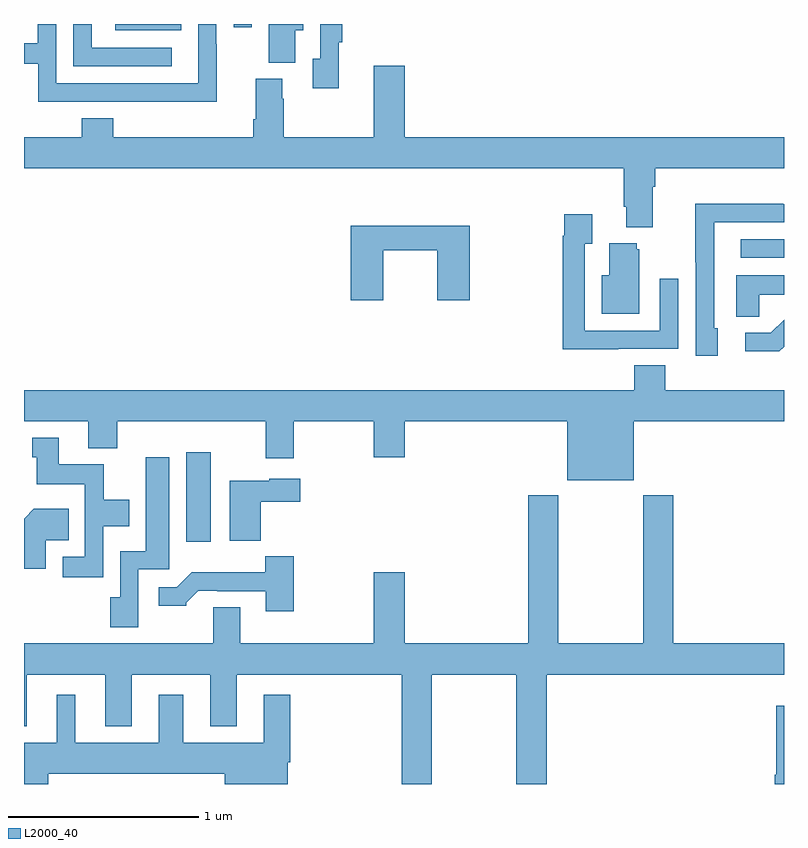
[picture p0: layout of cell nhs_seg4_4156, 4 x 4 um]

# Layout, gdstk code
import gdstk
lib = gdstk.Library(unit=1e-6, precision=1e-09)
def R(c, l, rs):  # rectangles x0, y0, x1, y1
    for r in rs: c.add(gdstk.rectangle(r[:2], r[2:], *l))
def P(c, l, *ps):  # polygons
    for p in ps: c.add(gdstk.Polygon(p, *l))
L2000_40 = (2000, 40)

nhs_seg4_4156 = lib.new_cell('nhs_seg4_4156')
R(nhs_seg4_4156, L2000_40, [(331.853,808.176,331.984,808.645), (334.773,809.67,335,809.766), (331.479,810.866,331.828,810.9), (332.103,810.882,332.199,810.9)])
P(nhs_seg4_4156, L2000_40, [(332.015,810.794),(332.013,810.794),(332.013,810.9),(331.917,810.9),(331.917,810.588),(331.17,810.588),(331.17,810.9),(331.073,810.9),(331.073,810.799),(331,810.799),(331,810.69),(331.074,810.69),(331.074,810.492),(331.552,810.492),(331.552,810.491),(332.015,810.491)],
  [(331.777,810.774),(331.356,810.774),(331.356,810.9),(331.26,810.9),(331.26,810.678),(331.777,810.678)],
  [(332.428,810.866),(332.47,810.866),(332.47,810.9),(332.288,810.9),(332.288,810.697),(332.428,810.697)],
  [(332.657,810.805),(332.675,810.805),(332.675,810.9),(332.559,810.9),(332.559,810.717),(332.519,810.717),(332.519,810.561),(332.657,810.561)],
  [(334.309,810.044),(334.322,810.044),(334.322,810.14),(335,810.14),(335,810.304),(333.004,810.304),(333.004,810.679),(332.84,810.679),(332.84,810.304),(332.367,810.304),(332.367,810.506),(332.359,810.506),(332.359,810.612),(332.219,810.612),(332.219,810.4),(332.207,810.4),(332.207,810.304),(331.469,810.304),(331.469,810.403),(331.304,810.403),(331.304,810.304),(331,810.304),(331,810.14),(334.157,810.14),(334.157,809.938),(334.169,809.938),(334.169,809.831),(334.309,809.831)],
  [(334.651,809.298),(334.632,809.298),(334.632,809.856),(335,809.856),(335,809.952),(334.997,809.952),(334.997,809.954),(334.534,809.954),(334.534,809.647),(334.536,809.647),(334.536,809.154),(334.651,809.154)],
  [(334.127,809.19),(334.443,809.19),(334.443,809.56),(334.347,809.56),(334.347,809.286),(333.951,809.286),(333.951,809.743),(333.991,809.743),(333.991,809.899),(333.843,809.899),(333.843,809.786),(333.835,809.786),(333.835,809.189),(334.127,809.189)],
  [(332.89,809.71),(333.176,809.71),(333.176,809.445),(333.347,809.445),(333.347,809.839),(332.72,809.839),(332.72,809.445),(332.89,809.445)],
  [(334.237,809.715),(334.226,809.715),(334.226,809.746),(334.079,809.746),(334.079,809.578),(334.04,809.578),(334.04,809.375),(334.237,809.375)],
  [(334.869,809.474),(335,809.474),(335,809.578),(334.748,809.578),(334.748,809.359),(334.869,809.359)],
  [(335,809.202),(335,809.343),(334.931,809.274),(334.797,809.274),(334.797,809.177),(334.975,809.177)],
  [(334.21,808.808),(335,808.808),(335,808.972),(334.376,808.972),(334.376,809.105),(334.211,809.105),(334.211,808.972),(331,808.972),(331,808.808),(331.337,808.808),(331.337,808.667),(331.49,808.667),(331.49,808.808),(332.273,808.808),(332.273,808.614),(332.421,808.614),(332.421,808.808),(332.84,808.808),(332.84,808.62),(333.004,808.62),(333.004,808.808),(333.86,808.808),(333.86,808.499),(334.21,808.499)],
  [(331.416,808.256),(331.555,808.256),(331.555,808.396),(331.419,808.396),(331.419,808.582),(331.183,808.582),(331.183,808.723),(331.043,808.723),(331.043,808.62),(331.067,808.62),(331.067,808.478),(331.32,808.478),(331.32,808.095),(331.203,808.095),(331.203,807.987),(331.416,807.987)],
  [(331.602,808.029),(331.765,808.029),(331.765,808.621),(331.64,808.621),(331.64,808.126),(331.506,808.126),(331.506,807.882),(331.454,807.882),(331.454,807.726),(331.602,807.726)],
  [(332.246,808.385),(332.455,808.385),(332.455,808.507),(332.292,808.507),(332.292,808.495),(332.084,808.495),(332.084,808.181),(332.246,808.181)],
  [(333.147,807.476),(333.592,807.476),(333.592,806.9),(333.752,806.9),(333.752,807.476),(335,807.476),(335,807.64),(334.418,807.64),(334.418,808.42),(334.258,808.42),(334.258,807.64),(333.813,807.64),(333.813,808.42),(333.653,808.42),(333.653,807.64),(333.004,807.64),(333.004,808.015),(332.84,808.015),(332.84,807.64),(332.137,807.64),(332.137,807.83),(331.997,807.83),(331.997,807.64),(331,807.64),(331,807.203),(331.015,807.203),(331.015,807.476),(331.427,807.476),(331.427,807.203),(331.567,807.203),(331.567,807.476),(331.979,807.476),(331.979,807.203),(332.119,807.203),(332.119,807.476),(332.987,807.476),(332.987,806.9),(333.147,806.9)],
  [(331.114,808.184),(331.235,808.184),(331.235,808.348),(331.052,808.348),(331,808.296),(331,808.034),(331.114,808.034)],
  [(332.421,808.099),(332.271,808.099),(332.271,808.015),(331.882,808.015),(331.803,807.936),(331.71,807.936),(331.71,807.839),(331.854,807.839),(331.854,807.854),(331.918,807.918),(332.017,807.918),(332.017,807.915),(332.273,807.915),(332.273,807.81),(332.421,807.81)],
  [(331.127,806.954),(332.057,806.954),(332.057,806.9),(332.389,806.9),(332.389,807.014),(332.402,807.014),(332.402,807.37),(332.261,807.37),(332.261,807.118),(331.837,807.118),(331.837,807.37),(331.709,807.37),(331.709,807.118),(331.27,807.118),(331.27,807.37),(331.172,807.37),(331.172,807.118),(331,807.118),(331,806.9),(331.127,806.9)],
  [(335,807.313),(334.958,807.313),(334.958,806.949),(334.952,806.949),(334.952,806.9),(335,806.9)])

lib.write_gds('nhs_seg4_4156.gds')
